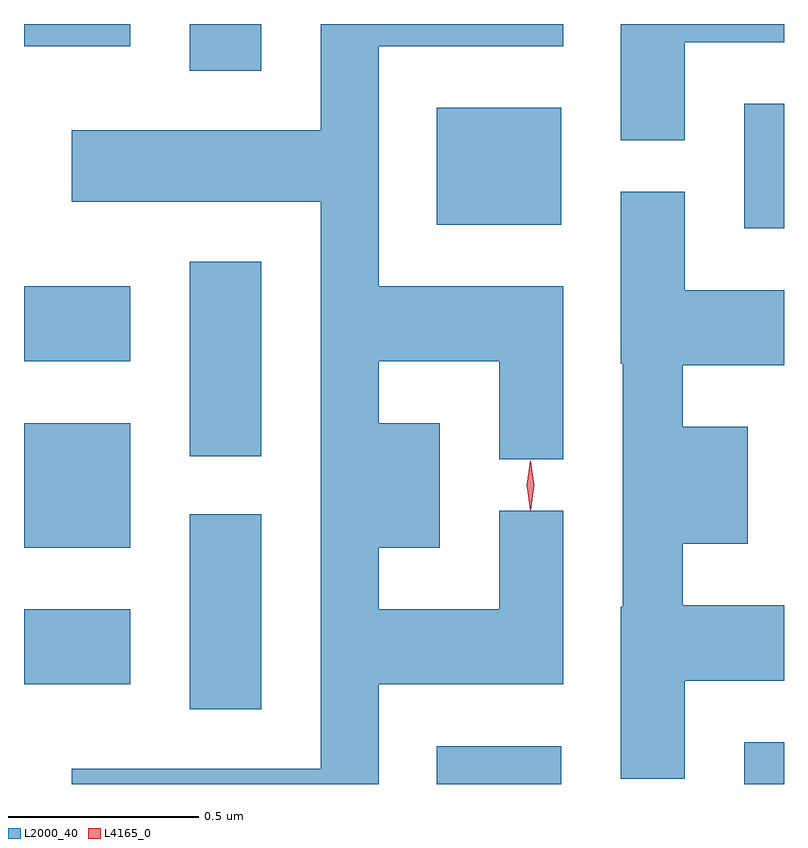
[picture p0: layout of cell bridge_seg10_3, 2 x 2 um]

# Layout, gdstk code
import gdstk
lib = gdstk.Library(unit=1e-6, precision=1e-09)
def R(c, l, rs):  # rectangles x0, y0, x1, y1
    for r in rs: c.add(gdstk.rectangle(r[:2], r[2:], *l))
def P(c, l, *ps):  # polygons
    for p in ps: c.add(gdstk.Polygon(p, *l))
L2000_40 = (2000, 40)
L4165_0 = (4165, 0)

bridge_seg10_3 = lib.new_cell('bridge_seg10_3')
R(bridge_seg10_3, L2000_40, [(1912.546,2158.304,1912.874,2158.404), (1913.356,2158.304,1913.46,2158.414), (1911.896,2158.501,1912.084,2159.014), (1911.46,2158.566,1911.739,2158.764), (1911.46,2158.926,1911.739,2159.254), (1911.896,2159.166,1912.084,2159.679), (1911.46,2159.416,1911.739,2159.614), (1913.356,2159.766,1913.46,2160.094), (1912.546,2159.776,1912.874,2160.084), (1911.896,2160.181,1912.084,2160.304), (1911.46,2160.246,1911.739,2160.304)])
P(bridge_seg10_3, L2000_40, [(1913.199,2160.256),(1913.46,2160.256),(1913.46,2160.304),(1913.031,2160.304),(1913.031,2159.998),(1913.199,2159.998)],
  [(1912.394,2158.566),(1912.879,2158.566),(1912.879,2159.023),(1912.711,2159.023),(1912.711,2158.764),(1912.394,2158.764),(1912.394,2158.926),(1912.554,2158.926),(1912.554,2159.254),(1912.394,2159.254),(1912.394,2159.416),(1912.711,2159.416),(1912.711,2159.158),(1912.879,2159.158),(1912.879,2159.614),(1912.394,2159.614),(1912.394,2160.246),(1912.879,2160.246),(1912.879,2160.304),(1912.241,2160.304),(1912.241,2160.024),(1911.586,2160.024),(1911.586,2159.836),(1912.241,2159.836),(1912.241,2158.344),(1911.586,2158.344),(1911.586,2158.304),(1912.394,2158.304)],
  [(1913.199,2158.576),(1913.46,2158.576),(1913.46,2158.774),(1913.194,2158.774),(1913.194,2158.936),(1913.364,2158.936),(1913.364,2159.244),(1913.194,2159.244),(1913.194,2159.406),(1913.46,2159.406),(1913.46,2159.604),(1913.199,2159.604),(1913.199,2159.863),(1913.031,2159.863),(1913.031,2159.41),(1913.036,2159.41),(1913.036,2158.77),(1913.031,2158.77),(1913.031,2158.318),(1913.199,2158.318)])
P(bridge_seg10_3, L4165_0, [(1912.793,2159.024),(1912.792,2159.025),(1912.783,2159.09),(1912.792,2159.155),(1912.793,2159.156),(1912.793,2159.155),(1912.803,2159.09),(1912.793,2159.025)])

lib.write_gds('bridge_seg10_3.gds')
